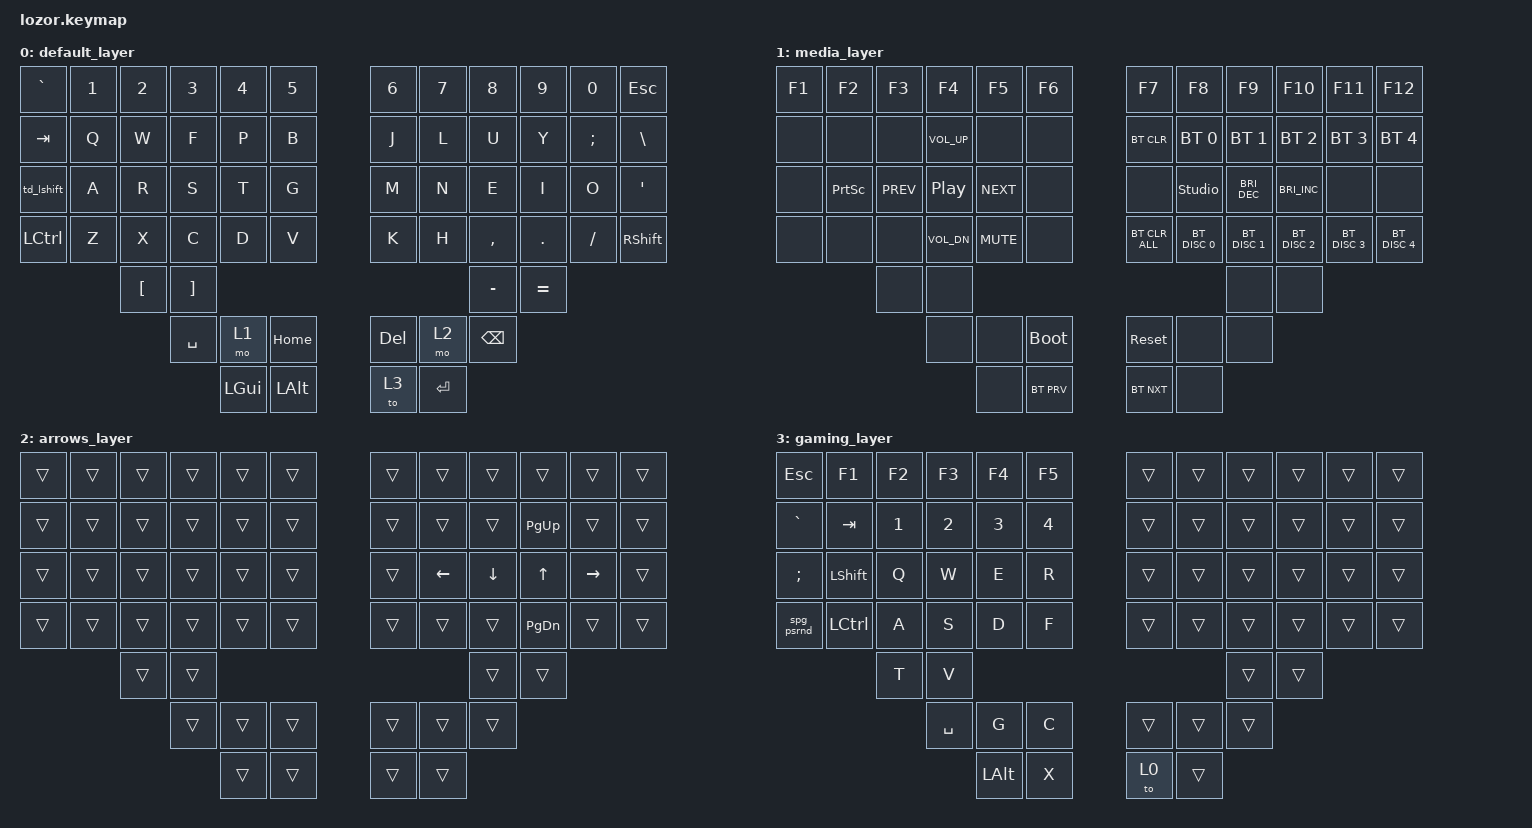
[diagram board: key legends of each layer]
#include <behaviors.dtsi>
#include <dt-bindings/zmk/bt.h>
#include <dt-bindings/zmk/keys.h>

#define DEFAULT 0
#define RAISE   1
#define LOWER   2
#define GAMING  3

/ {
    // =============================================================
    // SUPERGLIDE MACRO - 6ms precision for Apex Legends
    // =============================================================
    
    macros {
        superglide_5ms: superglide_5ms {
            compatible = "zmk,behavior-macro";
            #binding-cells = <0>;
            wait-ms = <4>;  // ~5ms total timing
            tap-ms = <1>;
            bindings = <&kp SPACE>, <&kp LCTRL>;
        };

        superglide_6ms: superglide_6ms {
            compatible = "zmk,behavior-macro";
            #binding-cells = <0>;
            wait-ms = <5>;  // ~6ms total timing
            tap-ms = <1>;
            bindings = <&kp SPACE>, <&kp LCTRL>;
        };

        superglide_7ms: superglide_7ms {
            compatible = "zmk,behavior-macro";
            #binding-cells = <0>;
            wait-ms = <6>;  // ~7ms total timing
            tap-ms = <1>;
            bindings = <&kp SPACE>, <&kp LCTRL>;
        };
    };

    // =============================================================
    // BEHAVIORS - Tap-dance and other behaviors
    // =============================================================
    
    behaviors {
        spg_psrnd: superglide_pseudorandom {
            compatible = "zmk,behavior-tap-dance";
            #binding-cells = <0>;
            tapping-term-ms = <200>;
            bindings = <&superglide_6ms>, <&superglide_5ms>, <&superglide_7ms>;
        };

        td_lshift: tap_dance_left_shift {
            compatible = "zmk,behavior-tap-dance";
            #binding-cells = <0>;
            tapping-term-ms = <200>;
            bindings = <&kp LSHIFT>, <&kp CAPS>;
        };
    };

    // =============================================================
    // KEYMAPS - Modernized layout
    // =============================================================

    keymap {
        compatible = "zmk,keymap";

        // DEFAULT LAYER - Colemak-DH with tap-dance shift
        default_layer {
            bindings = <
&kp GRAVE       &kp N1         &kp N2         &kp N3         &kp N4         &kp N5           &kp N6         &kp N7         &kp N8         &kp N9         &kp N0         &kp ESCAPE
&kp TAB         &kp Q          &kp W          &kp F          &kp P          &kp B            &kp J          &kp L          &kp U          &kp Y          &kp SEMICOLON  &kp BSLH
&td_lshift      &kp A          &kp R          &kp S          &kp T          &kp G            &kp M          &kp N          &kp E          &kp I          &kp O          &kp SQT
&kp LCTRL       &kp Z          &kp X          &kp C          &kp D          &kp V            &kp K          &kp H          &kp COMMA      &kp DOT        &kp FSLH       &kp RSHIFT
                               &kp LBKT       &kp RBKT                                                                     &kp MINUS      &kp EQUAL
                                              &kp SPACE      &mo 1          &kp HOME         &kp DEL        &mo 2          &kp BACKSPACE
                                                             &kp LGUI       &kp LALT         &to 3          &kp ENTER
            >;
        };

        // RAISE LAYER - Media, System, BT (unchanged)
        media_layer {
            bindings = <
&kp F1  &kp F2           &kp F3      &kp F4        &kp F5      &kp F6         &kp F7          &kp F8          &kp F9         &kp F10        &kp F11        &kp F12
&none   &none            &none       &kp C_VOL_UP  &none       &none          &bt BT_CLR      &bt BT_SEL 0    &bt BT_SEL 1   &bt BT_SEL 2   &bt BT_SEL 3   &bt BT_SEL 4
&none   &kp PRINTSCREEN  &kp C_PREV  &kp C_PP      &kp C_NEXT  &none          &none           &studio_unlock  &kp C_BRI_DEC  &kp C_BRI_INC  &none      &none
&none   &none            &none       &kp C_VOL_DN  &kp C_MUTE  &none          &bt BT_CLR_ALL  &bt BT_DISC 0   &bt BT_DISC 1  &bt BT_DISC 2  &bt BT_DISC 3  &bt BT_DISC 4
                         &none       &none                                                                    &none          &none
                                     &none         &none       &bootloader    &sys_reset      &none           &none
                                                   &none       &bt BT_PRV     &bt BT_NXT      &none
            >;
        };

        // LOWER LAYER - Numbers, Symbols, Arrows (unchanged)
        arrows_layer {
            bindings = <
&trans  &trans  &trans  &trans  &trans  &trans    &trans  &trans    &trans    &trans     &trans     &trans
&trans  &trans  &trans  &trans  &trans  &trans    &trans  &trans    &trans    &kp PG_UP  &trans     &trans
&trans  &trans  &trans  &trans  &trans  &trans    &trans  &kp LEFT  &kp DOWN  &kp UP     &kp RIGHT  &trans
&trans  &trans  &trans  &trans  &trans  &trans    &trans  &trans    &trans    &kp PG_DN  &trans     &trans
                &trans  &trans                                      &trans    &trans
                        &trans  &trans  &trans    &trans  &trans    &trans
                                &trans  &trans    &trans  &trans
            >;
        };

        // GAMING LAYER - QWERTY + Superglide at comma position
        gaming_layer {
            bindings = <
&kp ESC          &kp F1      &kp F2  &kp F3     &kp F4    &kp F5        &trans  &trans  &trans  &trans  &trans  &trans
&kp GRAVE        &kp TAB     &kp N1  &kp N2     &kp N3    &kp N4        &trans  &trans  &trans  &trans  &trans  &trans
&kp SEMICOLON    &kp LSHIFT  &kp Q   &kp W      &kp E     &kp R         &trans  &trans  &trans  &trans  &trans  &trans
&spg_psrnd       &kp LCTRL   &kp A   &kp S      &kp D     &kp F         &trans  &trans  &trans  &trans  &trans  &trans
                             &kp T   &kp V                                             &trans  &trans
                                     &kp SPACE  &kp G     &kp C         &trans  &trans  &trans
                                                &kp LALT  &kp X         &to 0   &trans
            >;
        };
    };
};
